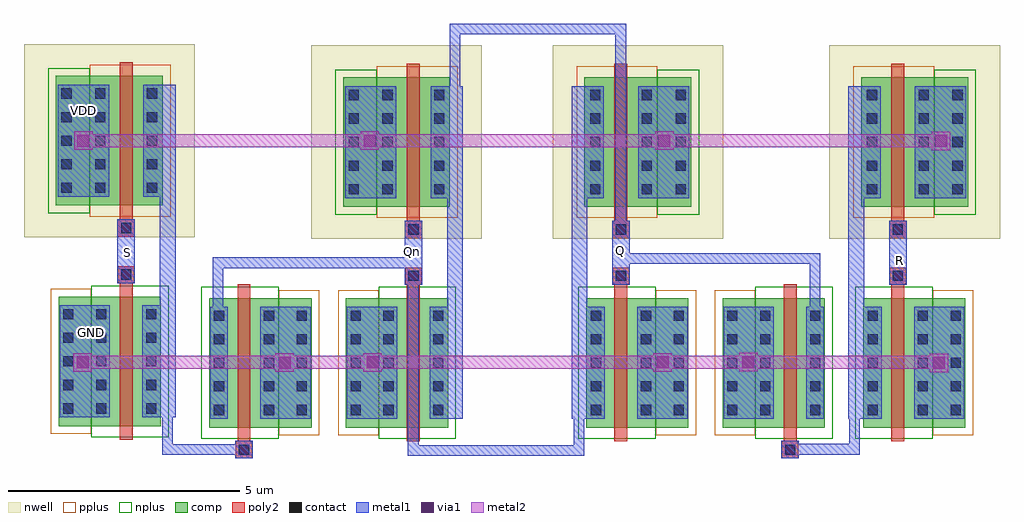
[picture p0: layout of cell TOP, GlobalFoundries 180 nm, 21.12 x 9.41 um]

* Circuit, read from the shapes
.subckt TOP GND Q Qn R S VDD
XM1 n1 S GND GND nfet_03v3 w=2.8u l=0.28u
XM2 GND n1 Qn GND nfet_03v3 w=2.8u l=0.28u
XM3 Q Qn GND GND nfet_03v3 w=2.8u l=0.28u
XM4 GND Q Qn GND nfet_03v3 w=2.8u l=0.28u
XM5 Q n2 GND GND nfet_03v3 w=2.8u l=0.28u
XM6 GND R n2 GND nfet_03v3 w=2.8u l=0.28u
XM7 n1 S VDD VDD pfet_03v3 w=2.8u l=0.28u
XM8 Q Qn VDD VDD pfet_03v3 w=2.8u l=0.28u
XM9 VDD Q Qn VDD pfet_03v3 w=2.8u l=0.28u
XM10 VDD R n2 VDD pfet_03v3 w=2.8u l=0.28u
.ends

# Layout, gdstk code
from math import pi, radians
import gdstk
lib = gdstk.Library(unit=1e-6, precision=5e-09)
def R(c, l, rs):  # rectangles x0, y0, x1, y1
    for r in rs: c.add(gdstk.rectangle(r[:2], r[2:], *l))
def A(c, l, x, y, w, h, nx, ny, dx, dy):  # array of equal rectangles
    R(c, l, [(x+i*dx, y+j*dy, x+i*dx+w, y+j*dy+h) for i in range(nx) for j in range(ny)])
nwell = (21, 0)
comp = (22, 0)
poly2 = (30, 0)
pplus = (31, 0)
nplus = (32, 0)
contact = (33, 0)
metal1 = (34, 0)
via1 = (35, 0)
metal2 = (36, 0)

pfet = lib.new_cell('pfet')
R(pfet, nwell, [(-1.15,-0.69,2.54,3.49)])
R(pfet, comp, [(-0.46,0,0,2.8), (0,0,0.66,2.8), (0.66,0,1.12,2.8), (1.12,0,1.85,2.8)])
R(pfet, poly2, [(0.14,-0.68,0.52,-0.3), (0.19,-0.3,0.47,3.1)])
R(pfet, pplus, [(-0.63,-0.24,1.12,3.04)])
R(pfet, nplus, [(1.12,-0.17,2.02,2.97)])
A(pfet, contact, -0.34, 0.27, 0.22, 0.22, 1, 5, 0, 0.51)
A(pfet, contact, 0.78, 0.27, 0.22, 0.22, 1, 5, 0, 0.51)
A(pfet, contact, 1.51, 0.27, 0.22, 0.22, 1, 5, 0, 0.51)
R(pfet, contact, [(0.22,-0.6,0.44,-0.38)])
R(pfet, metal1, [(0.14,-0.68,0.52,-0.3), (-0.42,0.19,-0.04,2.61), (0.7,0.19,1.08,2.61), (1.43,0.19,1.81,2.61)])

nfet = lib.new_cell('nfet')
R(nfet, comp, [(-0.42,0,0,2.8), (0,0,0.66,2.8), (0.66,0,1.08,2.8), (1.08,0,1.79,2.8)])
R(nfet, poly2, [(0.19,-0.3,0.47,3.1), (0.15,3.1,0.51,3.46)])
R(nfet, pplus, [(1.08,-0.17,1.96,2.97)])
R(nfet, nplus, [(-0.59,-0.24,1.08,3.04)])
A(nfet, contact, -0.32, 0.27, 0.22, 0.22, 1, 5, 0, 0.51)
A(nfet, contact, 0.76, 0.27, 0.22, 0.22, 1, 5, 0, 0.51)
A(nfet, contact, 1.47, 0.27, 0.22, 0.22, 1, 5, 0, 0.51)
R(nfet, contact, [(0.22,3.17,0.44,3.39)])
R(nfet, metal1, [(-0.4,0.19,-0.02,2.61), (0.68,0.19,1.06,2.61), (1.39,0.19,1.77,2.61), (0.14,3.09,0.52,3.47)])

nfet_1 = lib.new_cell('nfet$1')
R(nfet_1, comp, [(-0.42,0,0,2.8), (0,0,0.66,2.8), (0.66,0,1.08,2.8), (1.08,0,1.79,2.8)])
R(nfet_1, poly2, [(0.15,-0.66,0.51,-0.3), (0.19,-0.3,0.47,3.1)])
R(nfet_1, pplus, [(1.08,-0.17,1.96,2.97)])
R(nfet_1, nplus, [(-0.59,-0.24,1.08,3.04)])
A(nfet_1, contact, -0.32, 0.27, 0.22, 0.22, 1, 5, 0, 0.51)
A(nfet_1, contact, 0.76, 0.27, 0.22, 0.22, 1, 5, 0, 0.51)
A(nfet_1, contact, 1.47, 0.27, 0.22, 0.22, 1, 5, 0, 0.51)
R(nfet_1, contact, [(0.22,-0.59,0.44,-0.37)])
R(nfet_1, metal1, [(0.14,-0.67,0.52,-0.29), (-0.4,0.19,-0.02,2.61), (0.68,0.19,1.06,2.61), (1.39,0.19,1.77,2.61)])

via_dev = lib.new_cell('via_dev')
R(via_dev, metal1, [(0,0,0.4,0.4)])
R(via_dev, via1, [(0.07,0.07,0.33,0.33)])
R(via_dev, metal2, [(0,0,0.4,0.4)])

top = lib.new_cell('TOP')
R(top, metal1, [(3.185,6.285,4.275,8.705), (5.06,6.285,6.15,8.705), (7.23,6.285,7.57,13.48), (9.92,6.285,10.26,13.48), (11.34,6.285,12.43,8.705), (13.21,6.285,14.3,8.705), (15.91,6.285,16.25,13.48), (17.33,6.285,18.42,8.705), (-1.155,6.315,-0.065,8.735), (1.015,6.315,1.355,13.51), (6.31,9.185,6.69,10.57), (10.8,9.185,11.18,10.57), (16.79,9.185,17.17,10.57), (0.095,9.215,0.475,10.6), (5.02,11.055,6.13,13.475), (11.36,11.06,12.47,13.48), (17.35,11.06,18.46,13.48), (-1.195,11.085,-0.085,13.505)])
top.add(gdstk.FlexPath([(10.985,10.495),(10.985,14.72),(7.4,14.72),(7.4,13.37)], 0.23, ends="flush", simple_path=True, layer=34, datatype=0))  # metal1
top.add(gdstk.FlexPath([(6.495,9.31),(6.495,5.6),(10.08,5.6),(10.08,6.555)], 0.23, ends="flush", simple_path=True, layer=34, datatype=0))  # metal1
top.add(gdstk.FlexPath([(15.19,8.62),(15.19,9.755),(11.13,9.755)], 0.23, ends="flush", simple_path=True, layer=34, datatype=0))  # metal1
top.add(gdstk.FlexPath([(2.275,8.65),(2.275,9.66),(6.375,9.66)], 0.23, ends="flush", simple_path=True, layer=34, datatype=0))  # metal1
top.add(gdstk.FlexPath([(14.65,5.625),(16.04,5.625),(16.04,6.49)], 0.23, ends="flush", simple_path=True, layer=34, datatype=0))  # metal1
top.add(gdstk.FlexPath([(2.815,5.62),(1.18,5.62),(1.18,6.69)], 0.23, ends="flush", simple_path=True, layer=34, datatype=0))  # metal1
top.add(gdstk.FlexPath([(-0.74,7.505),(18,7.505)], 0.28, ends="flush", simple_path=True, layer=36, datatype=0))  # metal2
top.add(gdstk.FlexPath([(-0.73,12.3),(17.92,12.3)], 0.28, ends="flush", simple_path=True, layer=36, datatype=0))  # metal2
top.add(gdstk.Reference(pfet, (16.65,10.87)))
top.add(gdstk.Reference(nfet, (16.65,6.095)))
top.add(gdstk.Reference(nfet_1, (2.505,6.095)))
top.add(gdstk.Reference(nfet_1, (14.98,6.095), rotation=pi, x_reflection=True))
top.add(gdstk.Reference(nfet, (6.83,6.095), rotation=pi, x_reflection=True))
top.add(gdstk.Reference(pfet, (6.83,10.87), rotation=pi, x_reflection=True))
top.add(gdstk.Reference(nfet, (10.66,6.095)))
top.add(gdstk.Reference(pfet, (10.66,10.87)))
top.add(gdstk.Reference(via_dev, (-0.84,12.1)))
top.add(gdstk.Reference(nfet, (0.615,6.125), rotation=pi, x_reflection=True))
top.add(gdstk.Reference(pfet, (0.615,10.9), rotation=pi, x_reflection=True))
top.add(gdstk.Reference(via_dev, (-0.855,7.305)))
top.add(gdstk.Reference(via_dev, (3.515,7.3)))
top.add(gdstk.Reference(via_dev, (5.415,7.305)))
top.add(gdstk.Reference(via_dev, (5.355,12.1)))
top.add(gdstk.Reference(via_dev, (11.73,12.1)))
top.add(gdstk.Reference(via_dev, (17.715,12.095)))
top.add(gdstk.Reference(via_dev, (17.67,7.295)))
top.add(gdstk.Reference(via_dev, (13.545,7.31)))
top.add(gdstk.Reference(via_dev, (11.69,7.305)))
top.add(gdstk.Label('S', (0.305,9.875), layer=34, texttype=10))
top.add(gdstk.Label('R', (17.02,9.705), layer=34, texttype=10))
top.add(gdstk.Label('VDD', (-0.64,12.96), layer=34, texttype=10))
top.add(gdstk.Label('GND', (-0.455,8.15), layer=34, texttype=10))
top.add(gdstk.Label('Qn', (6.48,9.9), layer=34, texttype=10))
top.add(gdstk.Label('Q', (10.99,9.925), layer=34, texttype=10))

lib.write_gds('TOP.gds')
